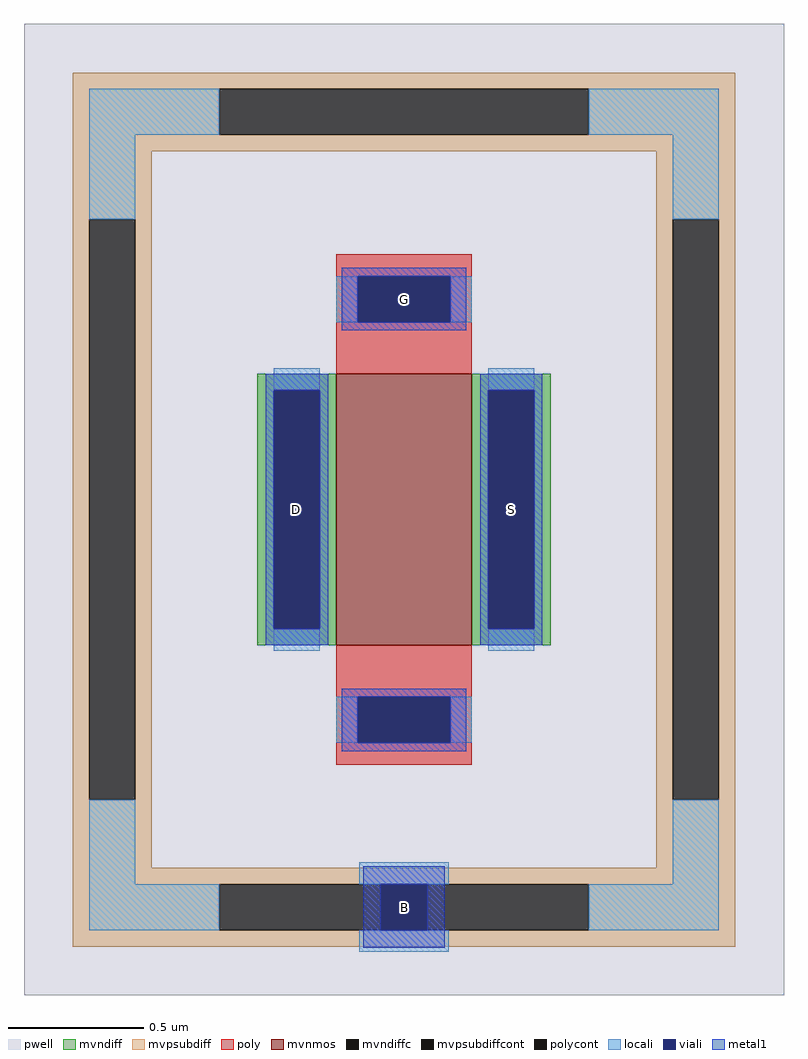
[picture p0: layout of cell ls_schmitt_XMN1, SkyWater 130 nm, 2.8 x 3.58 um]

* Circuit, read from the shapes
.subckt ls_schmitt_XMN1 B D S G
XM1 S G D B sky130_fd_pr__nfet_g5v0d10v5 w=1 l=0.5
.ends

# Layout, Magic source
magic
tech sky130A
magscale 1 2
<< pwell >>
rect -280 -358 280 358
<< mvnmos >>
rect -50 -100 50 100
<< mvndiff >>
rect -108 88 -50 100
rect -108 -88 -96 88
rect -62 -88 -50 88
rect -108 -100 -50 -88
rect 50 88 108 100
rect 50 -88 62 88
rect 96 -88 108 88
rect 50 -100 108 -88
<< mvndiffc >>
rect -96 -88 -62 88
rect 62 -88 96 88
<< mvpsubdiff >>
rect -244 310 244 322
rect -244 276 -136 310
rect 136 276 244 310
rect -244 264 244 276
rect -244 214 -186 264
rect -244 -214 -232 214
rect -198 -214 -186 214
rect 186 214 244 264
rect -244 -264 -186 -214
rect 186 -214 198 214
rect 232 -214 244 214
rect 186 -264 244 -214
rect -244 -276 244 -264
rect -244 -310 -136 -276
rect 136 -310 244 -276
rect -244 -322 244 -310
<< mvpsubdiffcont >>
rect -136 276 136 310
rect -232 -214 -198 214
rect 198 -214 232 214
rect -136 -310 136 -276
<< poly >>
rect -50 172 50 188
rect -50 138 -34 172
rect 34 138 50 172
rect -50 100 50 138
rect -50 -138 50 -100
rect -50 -172 -34 -138
rect 34 -172 50 -138
rect -50 -188 50 -172
<< polycont >>
rect -34 138 34 172
rect -34 -172 34 -138
<< locali >>
rect -232 276 -136 310
rect 136 276 232 310
rect -232 214 -198 276
rect 198 214 232 276
rect -50 138 -34 172
rect 34 138 50 172
rect -96 88 -62 104
rect -96 -104 -62 -88
rect 62 88 96 104
rect 62 -104 96 -88
rect -50 -172 -34 -138
rect 34 -172 50 -138
rect -232 -276 -198 -214
rect -33 -276 33 -260
rect 198 -276 232 -214
rect -232 -310 -136 -276
rect 136 -310 232 -276
rect -33 -326 33 -310
<< viali >>
rect -34 138 34 172
rect -96 -88 -62 88
rect 62 -88 96 88
rect -34 -172 34 -138
rect -17 -310 17 -276
<< metal1 >>
rect -46 172 46 178
rect -46 138 -34 172
rect 34 138 46 172
rect -46 132 46 138
rect -102 88 -56 100
rect -102 -88 -96 88
rect -62 -88 -56 88
rect -102 -100 -56 -88
rect 56 88 102 100
rect 56 -88 62 88
rect 96 -88 102 88
rect 56 -100 102 -88
rect -46 -138 46 -132
rect -46 -172 -34 -138
rect 34 -172 46 -138
rect -46 -178 46 -172
rect -30 -276 30 -263
rect -30 -310 -17 -276
rect 17 -310 30 -276
rect -30 -323 30 -310
<< labels >>
rlabel mvpsubdiffcont 0 -293 0 -293 0 B
port 4 nsew
rlabel mvndiffc -79 0 -79 0 0 D
port 5 nsew
rlabel mvndiffc 79 0 79 0 0 S
port 6 nsew
rlabel polycont 0 155 0 155 0 G
port 7 nsew
<< properties >>
string FIXED_BBOX -215 -293 215 293
<< end >>
